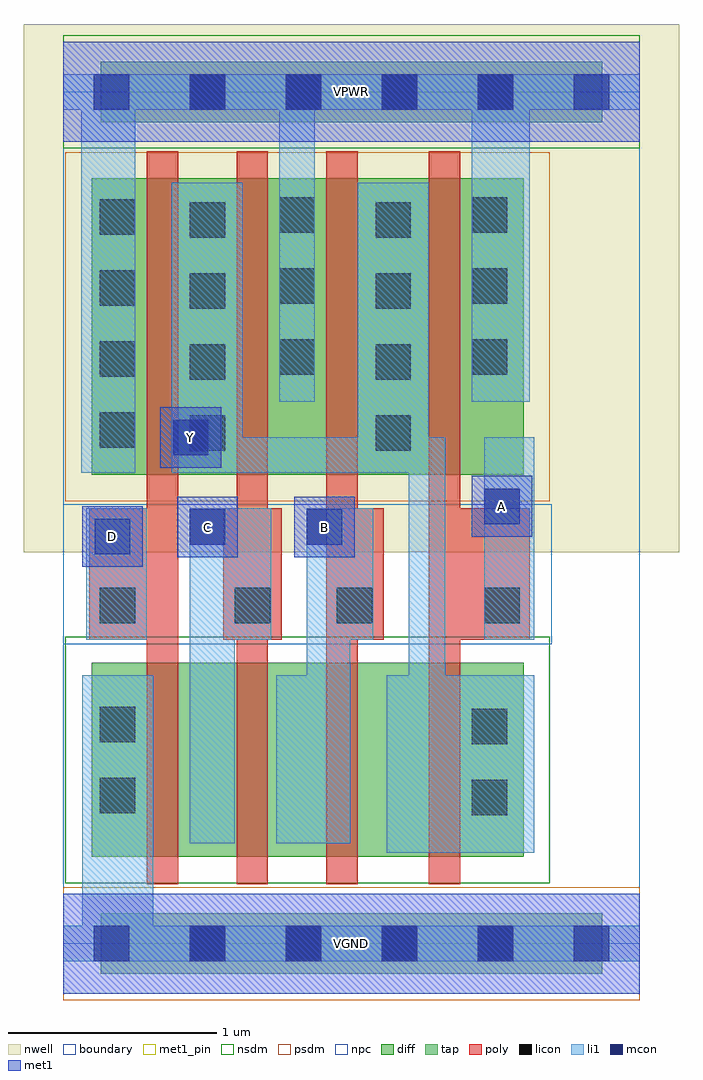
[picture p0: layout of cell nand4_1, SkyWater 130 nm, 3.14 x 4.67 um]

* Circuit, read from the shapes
.subckt nand4_1 A B C D VGND VPWR Y
XM1 n1 D VGND VGND sky130_fd_pr__nfet_01v8 w=0.93 l=0.15
XM2 n2 C n1 VGND sky130_fd_pr__nfet_01v8 w=0.93 l=0.15
XM3 n3 B n2 VGND sky130_fd_pr__nfet_01v8 w=0.93 l=0.15
XM4 Y A n3 VGND sky130_fd_pr__nfet_01v8 w=0.93 l=0.15
XM5 Y D VPWR VPWR sky130_fd_pr__pfet_01v8 w=1.42 l=0.15
XM6 VPWR C Y VPWR sky130_fd_pr__pfet_01v8 w=1.42 l=0.15
XM7 Y B VPWR VPWR sky130_fd_pr__pfet_01v8 w=1.42 l=0.15
XM8 VPWR A Y VPWR sky130_fd_pr__pfet_01v8 w=1.42 l=0.15
.ends

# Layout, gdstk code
import gdstk
lib = gdstk.Library(unit=1e-6, precision=1e-09)
def R(c, l, rs):  # rectangles x0, y0, x1, y1
    for r in rs: c.add(gdstk.rectangle(r[:2], r[2:], *l))
def A(c, l, x, y, w, h, nx, ny, dx, dy):  # array of equal rectangles
    R(c, l, [(x+i*dx, y+j*dy, x+i*dx+w, y+j*dy+h) for i in range(nx) for j in range(ny)])
nwell = (64, 20)
diff = (65, 20)
tap = (65, 44)
poly = (66, 20)
licon = (66, 44)
li1 = (67, 20)
mcon = (67, 44)
met1_pin = (68, 16)
met1 = (68, 20)
nsdm = (93, 44)
psdm = (94, 20)
npc = (95, 20)
boundary = (235, 4)

nand4_1 = lib.new_cell('nand4_1')
R(nand4_1, nwell, [(-0.19,1.875,2.95,4.405), (0,1.875,2.76,4.405)])
R(nand4_1, diff, [(0.135,0.415,2.205,1.345), (0.135,2.245,2.205,3.665)])
R(nand4_1, tap, [(0.18,-0.145,2.58,0.145), (0.18,3.935,2.58,4.225)])
A(nand4_1, poly, 0.4, 0.285, 0.15, 3.51, 3, 1, 0.43, 0)
R(nand4_1, poly, [(1.75,0.285,1.9,3.795), (0.125,1.455,0.55,2.085), (0.765,1.455,1.045,2.085), (1.26,1.455,1.535,2.085), (1.75,1.455,2.235,2.085)])
A(nand4_1, licon, 0.605, -0.085, 0.17, 0.17, 4, 2, 0.46, 4.08)
A(nand4_1, licon, 0.605, 2.36, 0.17, 0.17, 1, 4, 0, 0.34)
A(nand4_1, licon, 1.495, 2.36, 0.17, 0.17, 1, 4, 0, 0.34)
A(nand4_1, licon, 0.175, 2.375, 0.17, 0.17, 1, 4, 0, 0.34)
A(nand4_1, licon, 1.035, 2.725, 0.17, 0.17, 1, 3, 0, 0.34)
A(nand4_1, licon, 1.955, 2.725, 0.17, 0.17, 1, 3, 0, 0.34)
R(nand4_1, licon, [(1.955,0.615,2.125,0.785), (0.175,0.625,0.345,0.795), (1.955,0.955,2.125,1.125), (0.175,0.965,0.345,1.135), (0.175,1.535,0.345,1.705), (0.82,1.535,0.99,1.705), (1.31,1.535,1.48,1.705), (2.015,1.535,2.185,1.705)])
R(nand4_1, li1, [(0,-0.085,2.76,0.085), (0.09,-0.085,0.43,1.285), (1.55,0.435,2.255,1.285), (1.655,0.435,1.83,2.425), (0.605,0.48,0.82,2.085), (1.02,0.48,1.375,1.285), (1.165,0.48,1.375,2.085), (0.11,1.455,0.4,2.085), (0.605,1.455,0.995,2.085), (1.165,1.455,1.485,2.085), (2.015,1.455,2.255,2.425), (0.085,2.255,0.345,4.165), (0.52,2.255,0.86,3.645), (0.52,2.255,1.83,2.425), (1.41,2.255,1.75,3.645), (1.035,2.595,1.205,4.165), (1.955,2.595,2.235,4.165), (0,3.995,2.76,4.165)])
A(nand4_1, mcon, 0.145, -0.085, 0.17, 0.17, 6, 2, 0.46, 4.08)
R(nand4_1, mcon, [(0.15,1.865,0.32,2.035), (0.605,1.91,0.775,2.08), (1.165,1.91,1.335,2.08), (2.015,2.01,2.185,2.18), (0.525,2.34,0.695,2.51)])
R(nand4_1, met1_pin, [(0,-0.24,2.76,0.24), (0.09,1.805,0.38,2.095), (0.545,1.85,0.835,2.14), (1.105,1.85,1.395,2.14), (1.955,1.95,2.245,2.24), (0.465,2.28,0.755,2.57), (0,3.84,2.76,4.32)])
R(nand4_1, met1, [(0,-0.24,2.76,0.24), (0.09,1.805,0.38,2.095), (0.545,1.85,0.835,2.14), (1.105,1.85,1.395,2.14), (1.955,1.95,2.245,2.24), (0.465,2.28,0.755,2.57), (0,3.84,2.76,4.32)])
R(nand4_1, nsdm, [(0.01,0.29,2.33,1.47), (0,3.81,2.76,4.35)])
R(nand4_1, psdm, [(0,-0.27,2.76,0.27), (0.01,2.12,2.33,3.79)])
R(nand4_1, npc, [(0,1.435,2.34,2.105)])
R(nand4_1, boundary, [(0,0,2.76,4.08)])
nand4_1.add(gdstk.Label('A', (2.1,2.095), layer=68, texttype=5))
nand4_1.add(gdstk.Label('B', (1.25,1.995), layer=68, texttype=5))
nand4_1.add(gdstk.Label('C', (0.69,1.995), layer=68, texttype=5))
nand4_1.add(gdstk.Label('D', (0.235,1.95), layer=68, texttype=5))
nand4_1.add(gdstk.Label('Y', (0.61,2.425), layer=68, texttype=5))
nand4_1.add(gdstk.Label('VPWR', (1.38,4.08), layer=68, texttype=5))
nand4_1.add(gdstk.Label('VGND', (1.38,0), layer=68, texttype=5))
nand4_1.add(gdstk.Label('A', (2.1,2.095), layer=68, texttype=16))
nand4_1.add(gdstk.Label('B', (1.25,1.995), layer=68, texttype=16))
nand4_1.add(gdstk.Label('C', (0.69,1.995), layer=68, texttype=16))
nand4_1.add(gdstk.Label('D', (0.235,1.95), layer=68, texttype=16))
nand4_1.add(gdstk.Label('Y', (0.61,2.425), layer=68, texttype=16))
nand4_1.add(gdstk.Label('VPWR', (1.38,4.08), layer=68, texttype=16))
nand4_1.add(gdstk.Label('VGND', (1.38,0), layer=68, texttype=16))

lib.write_gds('nand4_1.gds')
